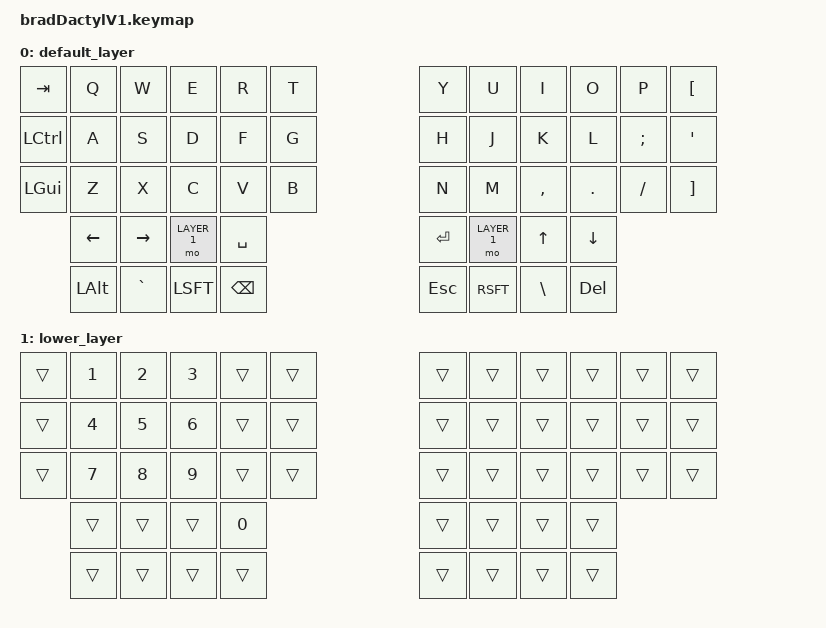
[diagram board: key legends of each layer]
#include <behaviors.dtsi>
#include <dt-bindings/zmk/keys.h>

#define LAYER_0 0
#define LAYER_1 1


/ {
    keymap {
        compatible = "zmk,keymap";

        default_layer {
// ----------------------------------------------------------------------------------------------------------------------------------
// TAB |    Q    |    W    |    E    |    R    |    T    |                   |    Y    |    U    |    I    |    O    |    P    |   [
// Ctrl|    A    |    S    |    D    |    F    |    G    |                   |    H    |    J    |    K    |    L    |    ;    |   '
//SUPER|    Z    |    X    |    C    |    V    |    B    |                   |    N    |    M    |    ,    |    .    |    /    |   ]
//     |       | Lft Arrow | Rht Arrow |     |         |                     |         |        | Up Arrow | Dwn Arrow |       |
//                              |  Layer up    |   Space   |            |   ENTER   | Layer dwn  |
//                              |    Shift     |    BSPC   |            |    Escape |   Shift   |
//                              |    L-Alt    |      `     |            |     \     |   Delete  |
            bindings = <
    &kp TAB    &kp Q    &kp W    &kp E    &kp R    &kp T                                               &kp Y     &kp U     &kp I     &kp O     &kp P    &kp LBKT
    &kp LCTRL  &kp A    &kp S    &kp D    &kp F    &kp G                                               &kp H     &kp J     &kp K     &kp L     &kp SEMI &kp QUOT
    &kp LGUI   &kp Z    &kp X    &kp C    &kp V    &kp B                                               &kp N     &kp M     &kp COMMA &kp DOT   &kp FSLH &kp RBKT
               &kp LEFT &kp RIGHT &mo LAYER_1 &kp SPACE                                                &kp RET   &mo LAYER_1 &kp UP    &kp DOWN
               &kp LALT &kp GRAVE &kp LSFT &kp BSPC                                                   &kp ESC   &kp RSFT    &kp BSLH  &kp DEL
            >;
        };
lower_layer {
            bindings = <
// ---------------------------------------------lower layer or layer_1---------------------------------------------------------------
// TAB |    Q    |    W    |    E    |    R    |    T    |                   |    Y    |    U    |    I    |    O    |    P    |   [
// Ctrl|    A    |    S    |    D    |    F    |    G    |                   |    H    |    J    |    K    |    L    |    ;    |   '
//SUPER|    Z    |    X    |    C    |    V    |    B    |                   |    N    |    M    |    ,    |    .    |    /    |   ]
//     |       | Lft Arrow | Rht Arrow |     |         |                     |         |        | Up Arrow | Dwn Arrow |       |
//                              |  Layer up    |   Space   |            |   ENTER   | Layer dwn  |
//                              |    Shift     |    BSPC   |            |    Escape |   Shift   |
//                              |    L-Alt    |      `     |            |     \     |   Delete  |
                &trans  &kp 1    &kp 2    &kp 3    &trans  &trans                                      &trans  &trans  &trans  &trans  &trans  &trans
                &trans  &kp 4    &kp 5    &kp 6    &trans  &trans                                      &trans  &trans  &trans  &trans  &trans  &trans
                &trans  &kp 7    &kp 8    &kp 9    &trans  &trans                                      &trans  &trans  &trans  &trans  &trans  &trans
                       &trans  &trans  &trans   &kp 0                                                  &trans  &trans  &trans  &trans
                       &trans  &trans  &trans   &trans                                                  &trans  &trans  &trans  &trans
            >;
        };

        // Additional layers would follow the same pattern
    };
};
